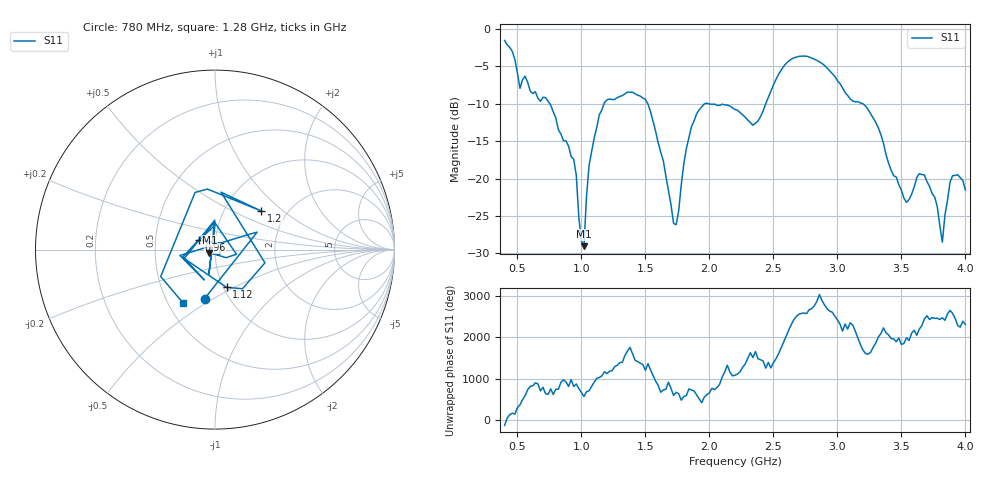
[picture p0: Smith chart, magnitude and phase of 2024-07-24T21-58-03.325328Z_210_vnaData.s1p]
!Created with skrf (http://scikit-rf.org).
# Hz S RI R 50.0
!freq ReS11 ImS11
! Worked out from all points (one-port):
!   181 points, 400 MHz to 4 GHz, reference 50 ohm
!   lowest |S11| = -29.0 dB at 1.02 GHz (marker M1), VSWR 1.07, Z = 46.9 - j1.55 ohm
!   |S11| at or under -10 dB: 1.519 GHz to 1.965 GHz (446.4 MHz wide, 25.6 % of centre); 1.992 GHz to 2.44 GHz (448 MHz wide, 20.2 % of centre); 3.198 GHz to end of sweep (the widest 3 of 4)
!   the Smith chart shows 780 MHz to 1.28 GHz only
!   S11 on the Smith chart (normalised r, x): 780 MHz: 0.77, -0.46; 960 MHz: 0.83, +0.09; 1.12 GHz: 1.04, -0.46; 1.2 GHz: 1.48, +0.72; 1.28 GHz: 0.60, -0.41
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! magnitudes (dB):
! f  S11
! 400 MHz  -1.5
! 520 MHz  -8.0
! 780 MHz  -11.1
! 860 MHz  -14.9
! 960 MHz  -19.6
! 980 MHz  -25.2
! 1.02 GHz  -29.0
! 1.06 GHz  -18.2
! 1.12 GHz  -13.1
! 1.2 GHz  -9.5
! 1.28 GHz  -9.2
! 1.3 GHz  -9.0
! 1.52 GHz  -10.0
! 1.72 GHz  -26.0
! 1.76 GHz  -24.3
! 1.82 GHz  -16.0
! 1.9 GHz  -11.4
! 2.2 GHz  -10.8
! 2.38 GHz  -12.3
! 2.66 GHz  -3.9
! 3.1 GHz  -9.3
! 3.28 GHz  -11.9
! 3.56 GHz  -22.8
! 3.68 GHz  -19.5
! 3.78 GHz  -23.7
! 3.82 GHz  -28.5
! 3.9 GHz  -19.6
! 4 GHz  -21.5
